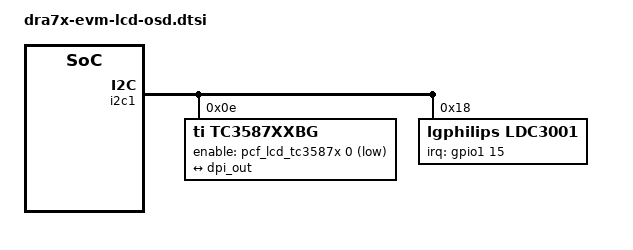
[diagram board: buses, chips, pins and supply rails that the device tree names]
/*
 * Copyright (C) 2013 Texas Instruments Incorporated - http://www.ti.com/
 *
 * This program is free software; you can redistribute it and/or modify
 * it under the terms of the GNU General Public License version 2 as
 * published by the Free Software Foundation.
 */

/ {
	aliases {
		display0 = &tc3587xxbg;
		display1 = &hdmi0;
	};
};

&i2c1 {
	/* LCD Bridge Chip for driving DPI-to-DSI video to the LCD Panel */
	tc3587xxbg: tc3587xxbg@0E {
		compatible = "ti,tc3587xxbg";
		reg = <0x0E>;
		enable-gpios = <&pcf_lcd_tc3587x 0 GPIO_ACTIVE_LOW>;  /* P0, MASTER_POWER_ENn */

		port@0 {
			tc_in: endpoint {
				remote-endpoint = <&dpi_out>;
			};
		};

	};

	ldc3001:ldc3001@18 {
		compatible = "lgphilips,ldc3001";
		status = "okay";
		reg = <0x18>;
		interrupt-parent = <&gpio1>;
		interrupts = <15 IRQ_TYPE_LEVEL_HIGH>;
		max-touch-points = <10>;
		res-x = <1280>;
		res-y = <800>;
	};


};

/* audio codec i2c address moved to 0x19 for 10" display config */
&tlv320aic3106 {
      reg = <0x19>;
};

&dss {
	ports {
		#address-cells = <1>;
		#size-cells = <0>;

		port@0 {
			reg = <0>;

			dpi_out: endpoint {
				remote-endpoint = <&tc_in>;
				data-lines = <24>;
			};
		};

	};
};
